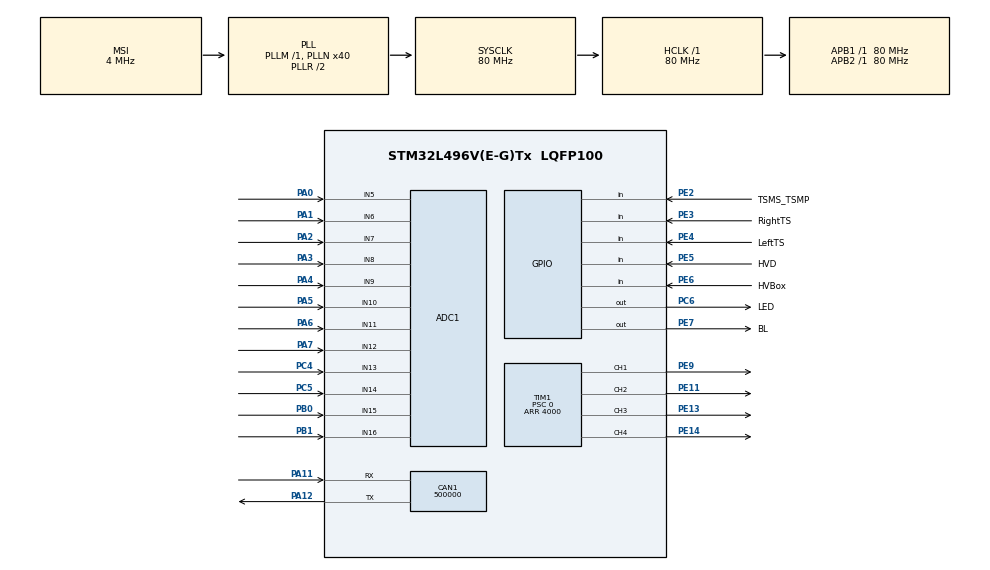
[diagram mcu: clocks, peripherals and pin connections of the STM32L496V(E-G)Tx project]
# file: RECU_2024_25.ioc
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ADC1.Channel-0\#ChannelRegularConversion=ADC_CHANNEL_5
ADC1.Channel-1\#ChannelRegularConversion=ADC_CHANNEL_6
ADC1.Channel-10\#ChannelRegularConversion=ADC_CHANNEL_15
ADC1.Channel-11\#ChannelRegularConversion=ADC_CHANNEL_16
ADC1.Channel-2\#ChannelRegularConversion=ADC_CHANNEL_7
ADC1.Channel-3\#ChannelRegularConversion=ADC_CHANNEL_8
ADC1.Channel-4\#ChannelRegularConversion=ADC_CHANNEL_9
ADC1.Channel-5\#ChannelRegularConversion=ADC_CHANNEL_10
ADC1.Channel-6\#ChannelRegularConversion=ADC_CHANNEL_11
ADC1.Channel-7\#ChannelRegularConversion=ADC_CHANNEL_12
ADC1.Channel-8\#ChannelRegularConversion=ADC_CHANNEL_13
ADC1.Channel-9\#ChannelRegularConversion=ADC_CHANNEL_14
ADC1.ClockPrescaler=ADC_CLOCK_ASYNC_DIV16
ADC1.ContinuousConvMode=ENABLE
ADC1.DMAContinuousRequests=ENABLE
ADC1.ExternalTrigConv=ADC_EXTERNALTRIG_T8_TRGO
ADC1.NbrOfConversion=12
ADC1.NbrOfConversionFlag=1
ADC1.OffsetNumber-0\#ChannelRegularConversion=ADC_OFFSET_NONE
ADC1.OffsetNumber-1\#ChannelRegularConversion=ADC_OFFSET_NONE
ADC1.OffsetNumber-10\#ChannelRegularConversion=ADC_OFFSET_NONE
ADC1.OffsetNumber-11\#ChannelRegularConversion=ADC_OFFSET_NONE
ADC1.OffsetNumber-2\#ChannelRegularConversion=ADC_OFFSET_NONE
ADC1.OffsetNumber-3\#ChannelRegularConversion=ADC_OFFSET_NONE
ADC1.OffsetNumber-4\#ChannelRegularConversion=ADC_OFFSET_NONE
ADC1.OffsetNumber-5\#ChannelRegularConversion=ADC_OFFSET_NONE
ADC1.OffsetNumber-6\#ChannelRegularConversion=ADC_OFFSET_NONE
ADC1.OffsetNumber-7\#ChannelRegularConversion=ADC_OFFSET_NONE
ADC1.OffsetNumber-8\#ChannelRegularConversion=ADC_OFFSET_NONE
ADC1.OffsetNumber-9\#ChannelRegularConversion=ADC_OFFSET_NONE
ADC1.Rank-0\#ChannelRegularConversion=1
ADC1.Rank-1\#ChannelRegularConversion=2
ADC1.Rank-10\#ChannelRegularConversion=11
ADC1.Rank-11\#ChannelRegularConversion=12
ADC1.Rank-2\#ChannelRegularConversion=3
ADC1.Rank-3\#ChannelRegularConversion=4
ADC1.Rank-4\#ChannelRegularConversion=5
ADC1.Rank-5\#ChannelRegularConversion=6
ADC1.Rank-6\#ChannelRegularConversion=7
ADC1.Rank-7\#ChannelRegularConversion=8
ADC1.Rank-8\#ChannelRegularConversion=9
ADC1.Rank-9\#ChannelRegularConversion=10
ADC1.SamplingTime-0\#ChannelRegularConversion=ADC_SAMPLETIME_24CYCLES_5
ADC1.SamplingTime-1\#ChannelRegularConversion=ADC_SAMPLETIME_24CYCLES_5
ADC1.SamplingTime-10\#ChannelRegularConversion=ADC_SAMPLETIME_24CYCLES_5
ADC1.SamplingTime-11\#ChannelRegularConversion=ADC_SAMPLETIME_24CYCLES_5
ADC1.SamplingTime-2\#ChannelRegularConversion=ADC_SAMPLETIME_24CYCLES_5
ADC1.SamplingTime-3\#ChannelRegularConversion=ADC_SAMPLETIME_24CYCLES_5
ADC1.SamplingTime-4\#ChannelRegularConversion=ADC_SAMPLETIME_24CYCLES_5
ADC1.SamplingTime-5\#ChannelRegularConversion=ADC_SAMPLETIME_24CYCLES_5
ADC1.SamplingTime-6\#ChannelRegularConversion=ADC_SAMPLETIME_24CYCLES_5
ADC1.SamplingTime-7\#ChannelRegularConversion=ADC_SAMPLETIME_24CYCLES_5
ADC1.SamplingTime-8\#ChannelRegularConversion=ADC_SAMPLETIME_24CYCLES_5
ADC1.SamplingTime-9\#ChannelRegularConversion=ADC_SAMPLETIME_24CYCLES_5
ADC1.master=1
CAN1.BS1=CAN_BS1_6TQ
CAN1.BS2=CAN_BS2_3TQ
CAN1.CalculateBaudRate=500000
CAN1.CalculateTimeBit=2000
CAN1.CalculateTimeQuantum=200.0
CAN1.NART=ENABLE
Dma.ADC1.0.Direction=DMA_PERIPH_TO_MEMORY
Dma.ADC1.0.Instance=DMA1_Channel1
Dma.ADC1.0.MemDataAlignment=DMA_MDATAALIGN_HALFWORD
Dma.ADC1.0.MemInc=DMA_MINC_ENABLE
Dma.ADC1.0.Mode=DMA_CIRCULAR
Dma.ADC1.0.PeriphDataAlignment=DMA_PDATAALIGN_HALFWORD
Dma.ADC1.0.PeriphInc=DMA_PINC_DISABLE
Dma.ADC1.0.Priority=DMA_PRIORITY_MEDIUM
Dma.Request0=ADC1
FREERTOS.BinarySemaphores01=BinSemControl,Dynamic,NULL,Depleted
FREERTOS.Tasks01=CAN,2,128,StartCAN,Default,NULL,Dynamic,NULL,NULL;ADC,0,128,StartADC,Default,NULL,Dynamic,NULL,NULL;Shutdown,-1,128,StartShutdown,Default,NULL,Dynamic,NULL,NULL;Control,1,128,StartControl,Default,NULL,Dynamic,NULL,NULL
FREERTOS.configUSE_NEWLIB_REENTRANT=1
Mcu.Family=STM32L4
Mcu.Name=STM32L496V(E-G)Tx
Mcu.Package=LQFP100
NVIC.ADC1_2_IRQn=true\:5\:0\:false\:false\:true\:true\:true\:true\:true
NVIC.CAN1_RX0_IRQn=true\:5\:0\:false\:false\:true\:true\:true\:true\:true
NVIC.CAN1_RX1_IRQn=true\:5\:0\:false\:false\:true\:true\:true\:true\:true
NVIC.DMA1_Channel1_IRQn=true\:5\:0\:false\:false\:true\:true\:false\:true\:true
NVIC.PriorityGroup=NVIC_PRIORITYGROUP_4
NVIC.TIM4_IRQn=true\:15\:0\:false\:false\:true\:false\:false\:true\:true
NVIC.TimeBase=TIM4_IRQn
NVIC.TimeBaseIP=TIM4
PA0.Signal=ADCx_IN5
PA1.Signal=ADCx_IN6
PA11.Mode=CAN_Activate
PA11.Signal=CAN1_RX
PA12.Mode=CAN_Activate
PA12.Signal=CAN1_TX
PA2.Signal=ADCx_IN7
PA3.Signal=ADCx_IN8
PA4.Signal=ADCx_IN9
PA5.Signal=ADCx_IN10
PA6.Signal=ADCx_IN11
PA7.Signal=ADCx_IN12
PB0.Signal=ADCx_IN15
PB1.Signal=ADCx_IN16
PC4.Signal=ADCx_IN13
PC5.Signal=ADCx_IN14
PC6.GPIO_Label=LED
PC6.Signal=GPIO_Output
PE11.Signal=S_TIM1_CH2
PE13.Signal=S_TIM1_CH3
PE14.Signal=S_TIM1_CH4
PE2.GPIO_Label=TSMS_TSMP
PE2.Signal=GPIO_Input
PE3.GPIO_Label=RightTS
PE3.Signal=GPIO_Input
PE4.GPIO_Label=LeftTS
PE4.Signal=GPIO_Input
PE5.GPIO_Label=HVD
PE5.Signal=GPIO_Input
PE6.GPIO_Label=HVBox
PE6.Signal=GPIO_Input
PE7.GPIO_Label=BL
PE7.Signal=GPIO_Output
PE9.Signal=S_TIM1_CH1
ProjectManager.HeapSize=0x200
ProjectManager.StackSize=0x400
ProjectManager.TargetToolchain=STM32CubeIDE
RCC.ADCFreq_Value=32000000
RCC.AHBFreq_Value=80000000
RCC.APB1Freq_Value=80000000
RCC.APB1TimFreq_Value=80000000
RCC.APB2Freq_Value=80000000
RCC.APB2TimFreq_Value=80000000
RCC.CortexFreq_Value=80000000
RCC.HCLKFreq_Value=80000000
RCC.HSE_VALUE=8000000
RCC.HSI48_VALUE=48000000
RCC.HSI_VALUE=16000000
RCC.LSE_VALUE=32768
RCC.MSI_VALUE=4000000
RCC.PLLN=40
RCC.PLLSAI1N=16
RCC.SYSCLKFreq_VALUE=80000000
RCC.SYSCLKSource=RCC_SYSCLKSOURCE_PLLCLK
RCC.USBFreq_Value=32000000
RCC.VCOOutputFreq_Value=160000000
SH.ADCx_IN10.0=ADC1_IN10,IN10-Single-Ended
SH.ADCx_IN11.0=ADC1_IN11,IN11-Single-Ended
SH.ADCx_IN12.0=ADC1_IN12,IN12-Single-Ended
SH.ADCx_IN13.0=ADC1_IN13,IN13-Single-Ended
SH.ADCx_IN14.0=ADC1_IN14,IN14-Single-Ended
SH.ADCx_IN15.0=ADC1_IN15,IN15-Single-Ended
SH.ADCx_IN16.0=ADC1_IN16,IN16-Single-Ended
SH.ADCx_IN5.0=ADC1_IN5,IN5-Single-Ended
SH.ADCx_IN6.0=ADC1_IN6,IN6-Single-Ended
SH.ADCx_IN7.0=ADC1_IN7,IN7-Single-Ended
SH.ADCx_IN8.0=ADC1_IN8,IN8-Single-Ended
SH.ADCx_IN9.0=ADC1_IN9,IN9-Single-Ended
SH.S_TIM1_CH1.0=TIM1_CH1,PWM Generation1 CH1
SH.S_TIM1_CH2.0=TIM1_CH2,PWM Generation2 CH2
SH.S_TIM1_CH3.0=TIM1_CH3,PWM Generation3 CH3
SH.S_TIM1_CH4.0=TIM1_CH4,PWM Generation4 CH4
TIM1.Channel-PWM\ Generation1\ CH1=TIM_CHANNEL_1
TIM1.Channel-PWM\ Generation2\ CH2=TIM_CHANNEL_2
TIM1.Channel-PWM\ Generation3\ CH3=TIM_CHANNEL_3
TIM1.Channel-PWM\ Generation4\ CH4=TIM_CHANNEL_4
TIM1.Period=4000
TIM1.Prescaler=0
TIM8.Prescaler=20
TIM8.TIM_MasterOutputTrigger=TIM_TRGO_UPDATE
TIM8.TIM_MasterOutputTrigger2=TIM_TRGO2_UPDATE
VP_FREERTOS_VS_CMSIS_V1.Mode=CMSIS_V1
VP_SYS_VS_tim4.Mode=TIM4
VP_TIM8_VS_ClockSourceINT.Mode=Internal
board=custom

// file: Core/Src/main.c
/* USER CODE BEGIN Header */
/**
  ******************************************************************************
  * @file           : main.c
  * @brief          : Main program body
  ******************************************************************************
  * @attention
  *
  * Copyright (c) 2025 STMicroelectronics.
  * All rights reserved.
  *
  * This software is licensed under terms that can be found in the LICENSE file
  * in the root directory of this software component.
  * If no LICENSE file comes with this software, it is provided AS-IS.
  *
  ******************************************************************************
  */
/* USER CODE END Header */
#include "main.h"
#include "cmsis_os.h"

/* USER CODE BEGIN Includes */
#include "CAN_X_2025.h"
#include "CAN.h"
/* USER CODE END Includes */

ADC_HandleTypeDef hadc1;
DMA_HandleTypeDef hdma_adc1;

CAN_HandleTypeDef hcan1;

TIM_HandleTypeDef htim1;
TIM_HandleTypeDef htim8;

osThreadId CANHandle;
osThreadId ADCHandle;
osThreadId ShutdownHandle;
osThreadId ControlHandle;
osSemaphoreId BinSemControlHandle;
/* USER CODE BEGIN PV */
// Adc
uint16_t adc_buffer[12];
// Can

uint8_t RxData[8];
CAN_RxHeaderTypeDef RxHeader;

typedef enum {
	RAW_RECU_Data,
	STAT_RECU_Keep_Alive,
}STATES;

STATES CAN_FSM_STATE;
uint16_t dutycycle_L;
uint16_t dutycycle_R;

// Cooling
float Temp_L_motor = 0;
float Temp_R_motor = 0;
float Temp_L_IGBT = 0;
float Temp_R_IGBT = 0;
float RefriLeft = 0;
float RefriRight = 0;

uint8_t flag;
uint8_t flag1;

/* USER CODE END PV */

void SystemClock_Config(void);
static void MX_GPIO_Init(void);
static void MX_DMA_Init(void);
static void MX_ADC1_Init(void);
static void MX_CAN1_Init(void);
static void MX_TIM8_Init(void);
static void MX_TIM1_Init(void);
void StartCAN(void const * argument);
void StartADC(void const * argument);
void StartShutdown(void const * argument);
void StartControl(void const * argument);

int main(void)
{

  /* MCU Configuration--------------------------------------------------------*/

  /* Reset of all peripherals, Initializes the Flash interface and the Systick. */
  HAL_Init();

  /* Configure the system clock */
  SystemClock_Config();

  /* Initialize all configured peripherals */
  MX_GPIO_Init();
  MX_DMA_Init();
  MX_ADC1_Init();
  MX_CAN1_Init();
  MX_TIM8_Init();
  MX_TIM1_Init();
  /* USER CODE BEGIN 2 */
  //-------------StartCAN---------------------------
  HAL_CAN_Start(&hcan1);
  HAL_CAN_ActivateNotification(&hcan1, CAN_IT_RX_FIFO0_MSG_PENDING);

  Init_CAN_Filter(&hcan1);
  HAL_Delay(100);
  //-------------StartDMA---------------------------
  HAL_ADC_Start_DMA(&hadc1,(uint32_t*) adc_buffer, 12);
  HAL_TIM_Base_Start(&htim8);

  //-------------PWM--------------------------------
  HAL_TIM_PWM_Start(&htim1, TIM_CHANNEL_1);
  HAL_TIM_PWM_Start(&htim1, TIM_CHANNEL_2);
  HAL_TIM_PWM_Start(&htim1, TIM_CHANNEL_3);
  HAL_TIM_PWM_Start(&htim1, TIM_CHANNEL_4);
  flag = 0;
  CAN_FSM_STATE = RAW_RECU_Data;
  Rear_Alive = 0;
  /* USER CODE END 2 */

  /* Create the semaphores(s) */
  /* definition and creation of BinSemControl */
  osSemaphoreDef(BinSemControl);
  BinSemControlHandle = osSemaphoreCreate(osSemaphore(BinSemControl), 1);

  /* Create the thread(s) */
  /* definition and creation of CAN */
  osThreadDef(CAN, StartCAN, osPriorityHigh, 0, 128);
  CANHandle = osThreadCreate(osThread(CAN), NULL);

  /* definition and creation of ADC */
  osThreadDef(ADC, StartADC, osPriorityNormal, 0, 128);
  ADCHandle = osThreadCreate(osThread(ADC), NULL);

  /* definition and creation of Shutdown */
  osThreadDef(Shutdown, StartShutdown, osPriorityBelowNormal, 0, 128);
  ShutdownHandle = osThreadCreate(osThread(Shutdown), NULL);

  /* definition and creation of Control */
  osThreadDef(Control, StartControl, osPriorityAboveNormal, 0, 128);
  ControlHandle = osThreadCreate(osThread(Control), NULL);

  /* Start scheduler */
  osKernelStart();

  /* We should never get here as control is now taken by the scheduler */

  /* Infinite loop */
  while (1)
  {

  }
}

void SystemClock_Config(void)
{
  RCC_OscInitTypeDef RCC_OscInitStruct = {0};
  RCC_ClkInitTypeDef RCC_ClkInitStruct = {0};

  /** Configure the main internal regulator output voltage
  */
  if (HAL_PWREx_ControlVoltageScaling(PWR_REGULATOR_VOLTAGE_SCALE1) != HAL_OK)
  {
    Error_Handler();
  }

  /** Initializes the RCC Oscillators according to the specified parameters
  * in the RCC_OscInitTypeDef structure.
  */
  RCC_OscInitStruct.OscillatorType = RCC_OSCILLATORTYPE_MSI;
  RCC_OscInitStruct.MSIState = RCC_MSI_ON;
  RCC_OscInitStruct.MSICalibrationValue = 0;
  RCC_OscInitStruct.MSIClockRange = RCC_MSIRANGE_6;
  RCC_OscInitStruct.PLL.PLLState = RCC_PLL_ON;
  RCC_OscInitStruct.PLL.PLLSource = RCC_PLLSOURCE_MSI;
  RCC_OscInitStruct.PLL.PLLM = 1;
  RCC_OscInitStruct.PLL.PLLN = 40;
  RCC_OscInitStruct.PLL.PLLP = RCC_PLLP_DIV2;
  RCC_OscInitStruct.PLL.PLLQ = RCC_PLLQ_DIV2;
  RCC_OscInitStruct.PLL.PLLR = RCC_PLLR_DIV2;
  if (HAL_RCC_OscConfig(&RCC_OscInitStruct) != HAL_OK)
  {
    Error_Handler();
  }

  /** Initializes the CPU, AHB and APB buses clocks
  */
  RCC_ClkInitStruct.ClockType = RCC_CLOCKTYPE_HCLK|RCC_CLOCKTYPE_SYSCLK
                              |RCC_CLOCKTYPE_PCLK1|RCC_CLOCKTYPE_PCLK2;
  RCC_ClkInitStruct.SYSCLKSource = RCC_SYSCLKSOURCE_PLLCLK;
  RCC_ClkInitStruct.AHBCLKDivider = RCC_SYSCLK_DIV1;
  RCC_ClkInitStruct.APB1CLKDivider = RCC_HCLK_DIV1;
  RCC_ClkInitStruct.APB2CLKDivider = RCC_HCLK_DIV1;

  if (HAL_RCC_ClockConfig(&RCC_ClkInitStruct, FLASH_LATENCY_4) != HAL_OK)
  {
    Error_Handler();
  }
}

static void MX_ADC1_Init(void)
{

  ADC_MultiModeTypeDef multimode = {0};
  ADC_ChannelConfTypeDef sConfig = {0};

  /** Common config
  */
  hadc1.Instance = ADC1;
  hadc1.Init.ClockPrescaler = ADC_CLOCK_ASYNC_DIV16;
  hadc1.Init.Resolution = ADC_RESOLUTION_12B;
  hadc1.Init.DataAlign = ADC_DATAALIGN_RIGHT;
  hadc1.Init.ScanConvMode = ADC_SCAN_ENABLE;
  hadc1.Init.EOCSelection = ADC_EOC_SINGLE_CONV;
  hadc1.Init.LowPowerAutoWait = DISABLE;
  hadc1.Init.ContinuousConvMode = ENABLE;
  hadc1.Init.NbrOfConversion = 12;
  hadc1.Init.DiscontinuousConvMode = DISABLE;
  hadc1.Init.ExternalTrigConv = ADC_EXTERNALTRIG_T8_TRGO;
  hadc1.Init.ExternalTrigConvEdge = ADC_EXTERNALTRIGCONVEDGE_RISING;
  hadc1.Init.DMAContinuousRequests = ENABLE;
  hadc1.Init.Overrun = ADC_OVR_DATA_PRESERVED;
  hadc1.Init.OversamplingMode = DISABLE;
  if (HAL_ADC_Init(&hadc1) != HAL_OK)
  {
    Error_Handler();
  }

  /** Configure the ADC multi-mode
  */
  multimode.Mode = ADC_MODE_INDEPENDENT;
  if (HAL_ADCEx_MultiModeConfigChannel(&hadc1, &multimode) != HAL_OK)
  {
    Error_Handler();
  }

  /** Configure Regular Channel
  */
  sConfig.Channel = ADC_CHANNEL_5;
  sConfig.Rank = ADC_REGULAR_RANK_1;
  sConfig.SamplingTime = ADC_SAMPLETIME_24CYCLES_5;
  sConfig.SingleDiff = ADC_SINGLE_ENDED;
  sConfig.OffsetNumber = ADC_OFFSET_NONE;
  sConfig.Offset = 0;
  if (HAL_ADC_ConfigChannel(&hadc1, &sConfig) != HAL_OK)
  {
    Error_Handler();
  }

  /** Configure Regular Channel
  */
  sConfig.Channel = ADC_CHANNEL_6;
  sConfig.Rank = ADC_REGULAR_RANK_2;
  if (HAL_ADC_ConfigChannel(&hadc1, &sConfig) != HAL_OK)
  {
    Error_Handler();
  }

  /** Configure Regular Channel
  */
  sConfig.Channel = ADC_CHANNEL_7;
  sConfig.Rank = ADC_REGULAR_RANK_3;
  if (HAL_ADC_ConfigChannel(&hadc1, &sConfig) != HAL_OK)
  {
    Error_Handler();
  }

  /** Configure Regular Channel
  */
  sConfig.Channel = ADC_CHANNEL_8;
  sConfig.Rank = ADC_REGULAR_RANK_4;
  if (HAL_ADC_ConfigChannel(&hadc1, &sConfig) != HAL_OK)
  {
    Error_Handler();
  }

  /** Configure Regular Channel
  */
  sConfig.Channel = ADC_CHANNEL_9;
  sConfig.Rank = ADC_REGULAR_RANK_5;
  if (HAL_ADC_ConfigChannel(&hadc1, &sConfig) != HAL_OK)
  {
    Error_Handler();
  }

  /** Configure Regular Channel
  */
  sConfig.Channel = ADC_CHANNEL_10;
  sConfig.Rank = ADC_REGULAR_RANK_6;
  if (HAL_ADC_ConfigChannel(&hadc1, &sConfig) != HAL_OK)
  {
    Error_Handler();
  }

  /** Configure Regular Channel
  */
  sConfig.Channel = ADC_CHANNEL_11;
  sConfig.Rank = ADC_REGULAR_RANK_7;
  if (HAL_ADC_ConfigChannel(&hadc1, &sConfig) != HAL_OK)
  {
    Error_Handler();
  }

  /** Configure Regular Channel
  */
  sConfig.Channel = ADC_CHANNEL_12;
  sConfig.Rank = ADC_REGULAR_RANK_8;
  if (HAL_ADC_ConfigChannel(&hadc1, &sConfig) != HAL_OK)
  {
    Error_Handler();
  }

  /** Configure Regular Channel
  */
  sConfig.Channel = ADC_CHANNEL_13;
  sConfig.Rank = ADC_REGULAR_RANK_9;
  if (HAL_ADC_ConfigChannel(&hadc1, &sConfig) != HAL_OK)
  {
    Error_Handler();
  }

  /** Configure Regular Channel
  */
  sConfig.Channel = ADC_CHANNEL_14;
  sConfig.Rank = ADC_REGULAR_RANK_10;
  if (HAL_ADC_ConfigChannel(&hadc1, &sConfig) != HAL_OK)
  {
    Error_Handler();
  }

  /** Configure Regular Channel
  */
  sConfig.Channel = ADC_CHANNEL_15;
  sConfig.Rank = ADC_REGULAR_RANK_11;
  if (HAL_ADC_ConfigChannel(&hadc1, &sConfig) != HAL_OK)
  {
    Error_Handler();
  }

  /** Configure Regular Channel
  */
  sConfig.Channel = ADC_CHANNEL_16;
  sConfig.Rank = ADC_REGULAR_RANK_12;
  if (HAL_ADC_ConfigChannel(&hadc1, &sConfig) != HAL_OK)
  {
    Error_Handler();
  }

}

static void MX_CAN1_Init(void)
{

  hcan1.Instance = CAN1;
  hcan1.Init.Prescaler = 16;
  hcan1.Init.Mode = CAN_MODE_NORMAL;
  hcan1.Init.SyncJumpWidth = CAN_SJW_1TQ;
  hcan1.Init.TimeSeg1 = CAN_BS1_6TQ;
  hcan1.Init.TimeSeg2 = CAN_BS2_3TQ;
  hcan1.Init.TimeTriggeredMode = DISABLE;
  hcan1.Init.AutoBusOff = DISABLE;
  hcan1.Init.AutoWakeUp = DISABLE;
  hcan1.Init.AutoRetransmission = ENABLE;
  hcan1.Init.ReceiveFifoLocked = DISABLE;
  hcan1.Init.TransmitFifoPriority = DISABLE;
  if (HAL_CAN_Init(&hcan1) != HAL_OK)
  {
    Error_Handler();
  }

}

static void MX_TIM1_Init(void)
{

  TIM_MasterConfigTypeDef sMasterConfig = {0};
  TIM_OC_InitTypeDef sConfigOC = {0};
  TIM_BreakDeadTimeConfigTypeDef sBreakDeadTimeConfig = {0};

  htim1.Instance = TIM1;
  htim1.Init.Prescaler = 0;
  htim1.Init.CounterMode = TIM_COUNTERMODE_UP;
  htim1.Init.Period = 4000;
  htim1.Init.ClockDivision = TIM_CLOCKDIVISION_DIV1;
  htim1.Init.RepetitionCounter = 0;
  htim1.Init.AutoReloadPreload = TIM_AUTORELOAD_PRELOAD_DISABLE;
  if (HAL_TIM_PWM_Init(&htim1) != HAL_OK)
  {
    Error_Handler();
  }
  sMasterConfig.MasterOutputTrigger = TIM_TRGO_RESET;
  sMasterConfig.MasterOutputTrigger2 = TIM_TRGO2_RESET;
  sMasterConfig.MasterSlaveMode = TIM_MASTERSLAVEMODE_DISABLE;
  if (HAL_TIMEx_MasterConfigSynchronization(&htim1, &sMasterConfig) != HAL_OK)
  {
    Error_Handler();
  }
  sConfigOC.OCMode = TIM_OCMODE_PWM1;
  sConfigOC.Pulse = 0;
  sConfigOC.OCPolarity = TIM_OCPOLARITY_HIGH;
  sConfigOC.OCNPolarity = TIM_OCNPOLARITY_HIGH;
  sConfigOC.OCFastMode = TIM_OCFAST_DISABLE;
  sConfigOC.OCIdleState = TIM_OCIDLESTATE_RESET;
  sConfigOC.OCNIdleState = TIM_OCNIDLESTATE_RESET;
  if (HAL_TIM_PWM_ConfigChannel(&htim1, &sConfigOC, TIM_CHANNEL_1) != HAL_OK)
  {
    Error_Handler();
  }
  if (HAL_TIM_PWM_ConfigChannel(&htim1, &sConfigOC, TIM_CHANNEL_2) != HAL_OK)
  {
    Error_Handler();
  }
  if (HAL_TIM_PWM_ConfigChannel(&htim1, &sConfigOC, TIM_CHANNEL_3) != HAL_OK)
  {
    Error_Handler();
  }
  if (HAL_TIM_PWM_ConfigChannel(&htim1, &sConfigOC, TIM_CHANNEL_4) != HAL_OK)
  {
    Error_Handler();
  }
  sBreakDeadTimeConfig.OffStateRunMode = TIM_OSSR_DISABLE;
  sBreakDeadTimeConfig.OffStateIDLEMode = TIM_OSSI_DISABLE;
  sBreakDeadTimeConfig.LockLevel = TIM_LOCKLEVEL_OFF;
  sBreakDeadTimeConfig.DeadTime = 0;
  sBreakDeadTimeConfig.BreakState = TIM_BREAK_DISABLE;
  sBreakDeadTimeConfig.BreakPolarity = TIM_BREAKPOLARITY_HIGH;
  sBreakDeadTimeConfig.BreakFilter = 0;
  sBreakDeadTimeConfig.Break2State = TIM_BREAK2_DISABLE;
  sBreakDeadTimeConfig.Break2Polarity = TIM_BREAK2POLARITY_HIGH;
  sBreakDeadTimeConfig.Break2Filter = 0;
  sBreakDeadTimeConfig.AutomaticOutput = TIM_AUTOMATICOUTPUT_DISABLE;
  if (HAL_TIMEx_ConfigBreakDeadTime(&htim1, &sBreakDeadTimeConfig) != HAL_OK)
  {
    Error_Handler();
  }
  HAL_TIM_MspPostInit(&htim1);

}

static void MX_TIM8_Init(void)
{

  TIM_ClockConfigTypeDef sClockSourceConfig = {0};
  TIM_MasterConfigTypeDef sMasterConfig = {0};

  htim8.Instance = TIM8;
  htim8.Init.Prescaler = 20;
  htim8.Init.CounterMode = TIM_COUNTERMODE_UP;
  htim8.Init.Period = 65535;
  htim8.Init.ClockDivision = TIM_CLOCKDIVISION_DIV1;
  htim8.Init.RepetitionCounter = 0;
  htim8.Init.AutoReloadPreload = TIM_AUTORELOAD_PRELOAD_DISABLE;
  if (HAL_TIM_Base_Init(&htim8) != HAL_OK)
  {
    Error_Handler();
  }
  sClockSourceConfig.ClockSource = TIM_CLOCKSOURCE_INTERNAL;
  if (HAL_TIM_ConfigClockSource(&htim8, &sClockSourceConfig) != HAL_OK)
  {
    Error_Handler();
  }
  sMasterConfig.MasterOutputTrigger = TIM_TRGO_UPDATE;
  sMasterConfig.MasterOutputTrigger2 = TIM_TRGO2_UPDATE;
  sMasterConfig.MasterSlaveMode = TIM_MASTERSLAVEMODE_DISABLE;
  if (HAL_TIMEx_MasterConfigSynchronization(&htim8, &sMasterConfig) != HAL_OK)
  {
    Error_Handler();
  }

}

static void MX_DMA_Init(void)
{

  /* DMA controller clock enable */
  __HAL_RCC_DMA1_CLK_ENABLE();

  /* DMA interrupt init */
  /* DMA1_Channel1_IRQn interrupt configuration */
  HAL_NVIC_SetPriority(DMA1_Channel1_IRQn, 5, 0);
  HAL_NVIC_EnableIRQ(DMA1_Channel1_IRQn);

}

static void MX_GPIO_Init(void)
{
  GPIO_InitTypeDef GPIO_InitStruct = {0};

  /* GPIO Ports Clock Enable */
  __HAL_RCC_GPIOE_CLK_ENABLE();
  __HAL_RCC_GPIOA_CLK_ENABLE();
  __HAL_RCC_GPIOC_CLK_ENABLE();
  __HAL_RCC_GPIOB_CLK_ENABLE();

  /*Configure GPIO pin Output Level */
  HAL_GPIO_WritePin(BL_GPIO_Port, BL_Pin, GPIO_PIN_RESET);

  /*Configure GPIO pin Output Level */
  HAL_GPIO_WritePin(LED_GPIO_Port, LED_Pin, GPIO_PIN_RESET);

  /*Configure GPIO pins : TSMS_TSMP_Pin RightTS_Pin LeftTS_Pin HVD_Pin
                           HVBox_Pin */
  GPIO_InitStruct.Pin = TSMS_TSMP_Pin|RightTS_Pin|LeftTS_Pin|HVD_Pin
                          |HVBox_Pin;
  GPIO_InitStruct.Mode = GPIO_MODE_INPUT;
  GPIO_InitStruct.Pull = GPIO_NOPULL;
  HAL_GPIO_Init(GPIOE, &GPIO_InitStruct);

  /*Configure GPIO pin : BL_Pin */
  GPIO_InitStruct.Pin = BL_Pin;
  GPIO_InitStruct.Mode = GPIO_MODE_OUTPUT_PP;
  GPIO_InitStruct.Pull = GPIO_NOPULL;
  GPIO_InitStruct.Speed = GPIO_SPEED_FREQ_LOW;
  HAL_GPIO_Init(BL_GPIO_Port, &GPIO_InitStruct);

  /*Configure GPIO pin : LED_Pin */
  GPIO_InitStruct.Pin = LED_Pin;
  GPIO_InitStruct.Mode = GPIO_MODE_OUTPUT_PP;
  GPIO_InitStruct.Pull = GPIO_NOPULL;
  GPIO_InitStruct.Speed = GPIO_SPEED_FREQ_LOW;
  HAL_GPIO_Init(LED_GPIO_Port, &GPIO_InitStruct);

}

/* USER CODE BEGIN 4 */
void HAL_CAN_RxFifo0MsgPendingCallback(CAN_HandleTypeDef *hcan1)
  {
	if (HAL_CAN_GetRxMessage(hcan1, CAN_RX_FIFO0, &RxHeader, RxData) == HAL_OK){

		if (RxHeader.StdId == 4) { //missatge rebut per CAN2
				message_canrx_PROC_ETAS_Inverter_R_Data(RxData);
		//		osSemaphoreRelease(BinSemControlHandle);
			}
		if(RxHeader.StdId == 3) { //missatge rebut per CAN2
				message_canrx_PROC_ETAS_Inverter_L_Data(RxData);
		//		osSemaphoreRelease(BinSemControlHandle);
			}
		if(RxHeader.StdId == 49) { //missatge rebut per CAN2
				message_canrx_CTRL_DASH_Driver_Inputs(RxData);
		//		osSemaphoreRelease(BinSemControlHandle);
			}
		if(RxHeader.StdId == 2) { //missatge rebut per CAN2
				message_canrx_CTRL_ETAS_System(RxData);
		//		osSemaphoreRelease(BinSemControlHandle);
			}
	}
  }
/* USER CODE END 4 */

void StartCAN(void const * argument)
{
  /* USER CODE BEGIN 5 */
  /* Infinite loop */
  for(;;)
  {

//	  switch (CAN_FSM_STATE) {
//	  case RAW_RECU_Data:
//		  message_cantx_RAW_RECU_Data(TxHeader, hcan1, TxMailbox, TxData);
//		  CAN_FSM_STATE = STAT_RECU_Keep_Alive;
//		  vTaskDelay(5);
//	  break;
//	  case STAT_RECU_Keep_Alive:
//		  message_cantx_STAT_RECU_Keep_Alive(TxHeader, hcan1, TxMailbox, TxData);
//		  CAN_FSM_STATE = RAW_RECU_Data;
//		  vTaskDelay(20);
//	  break;
//	  }

	  Rear_Alive ++;
	  message_cantx_STAT_RECU_Keep_Alive(hcan1);
	  vTaskDelay(50);
	  Rear_Alive ++;
	  error_handle();
	  message_cantx_RAW_RECU_Data(hcan1);
	  message_cantx_STAT_RECU_Keep_Alive(hcan1);
	  vTaskDelay(50);
  }
  /* USER CODE END 5 */
}

void StartADC(void const * argument)
{
  /* USER CODE BEGIN StartADC */
  /* Infinite loop */
  for(;;)
  {
	  Susp_R_R_Bits = adc_buffer[9];
	  Susp_R_L_Bits  = adc_buffer[10];
	  RECU_LV  = adc_buffer[4];
	  RECU_5V  = adc_buffer[5];
	  RECU_3V3  = adc_buffer[6];
	vTaskDelay(25);
  }
  /* USER CODE END StartADC */
}

void StartShutdown(void const * argument)
{
  /* USER CODE BEGIN StartShutdown */
  /* Infinite loop */
  for(;;)
  {
	  Shutdown_TSMS_TSMP = HAL_GPIO_ReadPin(TSMS_TSMP_GPIO_Port, TSMS_TSMP_Pin);
	  Shutdown_LeftTS = HAL_GPIO_ReadPin(RightTS_GPIO_Port, RightTS_Pin);
	  Shutdown_RightTS = HAL_GPIO_ReadPin(LeftTS_GPIO_Port, LeftTS_Pin);
	  Shutdown_HVD = HAL_GPIO_ReadPin(HVD_GPIO_Port, HVD_Pin);
	  Shutdown_HVBox = HAL_GPIO_ReadPin(HVBox_GPIO_Port, HVBox_Pin);
    vTaskDelay(10);
  }
  /* USER CODE END StartShutdown */
}

void StartControl(void const * argument)
{
  /* USER CODE BEGIN StartControl */
  /* Infinite loop */
  for(;;)
  {
//	 osSemaphoreWait(BinSemControlHandle, HAL_MAX_DELAY);
	 //(left/right_temperature - ambient_temperature) / maximum_temperature - ambient_temperature)()

	 Temp_L_motor = ((float)(Inv_L_TempMotor-250)/(float)(1000-250));
	 Temp_R_motor = ((float)(Inv_R_TempMotor-250)/(float)(1000-250));

	 Temp_L_IGBT = ((float)(Inv_L_TempIGBT-250)/(float)(500-250));
	 Temp_R_IGBT = ((float)(Inv_R_TempIGBT-250)/(float)(500-250));

	 if (Temp_L_motor > 1){
		 Temp_L_motor = 1;
	 }
	 if (Temp_R_motor > 1){
		 Temp_R_motor = 1;
	 }
	 if (Temp_L_IGBT > 1){
		 Temp_L_IGBT = 1;
	 }
	 if (Temp_R_IGBT > 1){
		 Temp_R_IGBT = 1;
	 }

	 if (Temp_R_motor > Temp_R_IGBT){
		 RefriRight = Temp_R_motor;
	 } else {
		 RefriRight = Temp_R_IGBT;
	 }

	 if (Temp_L_motor > Temp_L_IGBT){
		 RefriLeft = Temp_L_motor;
	 } else {
		 RefriLeft = Temp_L_IGBT;
	 }

	 dutycycle_L = (uint16_t)(4000-(4000*RefriLeft));
	 dutycycle_R = (uint16_t)(4000-(4000*RefriRight));
	 if (Fans_R == CoolingOff) { //right
		 __HAL_TIM_SET_COMPARE(&htim1, TIM_CHANNEL_3, 4000); //right
	 } else if (Fans_R == CoolingOn) {
		 __HAL_TIM_SET_COMPARE(&htim1, TIM_CHANNEL_3, dutycycle_R); //right
	 } else if (Fans_R == CoolingMax) {
		 __HAL_TIM_SET_COMPARE(&htim1, TIM_CHANNEL_3, 0); //right
		 flag = 5;
	 }

	 if (Fans_L == CoolingOff) { //left
		 __HAL_TIM_SET_COMPARE(&htim1, TIM_CHANNEL_4, 4000); //left
	 } else if (Fans_L == CoolingOn) {
		 __HAL_TIM_SET_COMPARE(&htim1, TIM_CHANNEL_4, dutycycle_L); //left
	 } else if (Fans_L == CoolingMax) {
		 __HAL_TIM_SET_COMPARE(&htim1, TIM_CHANNEL_4, 0); //left
	 }

	 if (BrakeLight_Control == 0) {
		  HAL_GPIO_WritePin(LED_GPIO_Port, LED_Pin, 0); //BL
		  HAL_GPIO_WritePin(GPIOE, GPIO_PIN_7, 0); //BL
	 } else if (BrakeLight_Control == 1) {
		  HAL_GPIO_WritePin(LED_GPIO_Port, LED_Pin, 1); //BL
		  HAL_GPIO_WritePin(GPIOE, GPIO_PIN_7, 1); //BL
	 }

	 if (Pump_R == 1) {
		 __HAL_TIM_SET_COMPARE(&htim1, TIM_CHANNEL_1, 1360); //PUMPR
	 } else if (Pump_R == 0) {
		 __HAL_TIM_SET_COMPARE(&htim1, TIM_CHANNEL_1, 4000); //PUMPR
	 }

	 if (Pump_L == 1) {
		 __HAL_TIM_SET_COMPARE(&htim1, TIM_CHANNEL_2, 1360); //PUMPL
	 } else if (Pump_L == 0) {
		 __HAL_TIM_SET_COMPARE(&htim1, TIM_CHANNEL_2, 4000); //PUMPL
	 }
    osDelay(25);
  }
  /* USER CODE END StartControl */
}

void HAL_TIM_PeriodElapsedCallback(TIM_HandleTypeDef *htim)
{
  if (htim->Instance == TIM4) {
    HAL_IncTick();
  }
}

void Error_Handler(void)
{
  __disable_irq();
  while (1)
  {
  }
}
